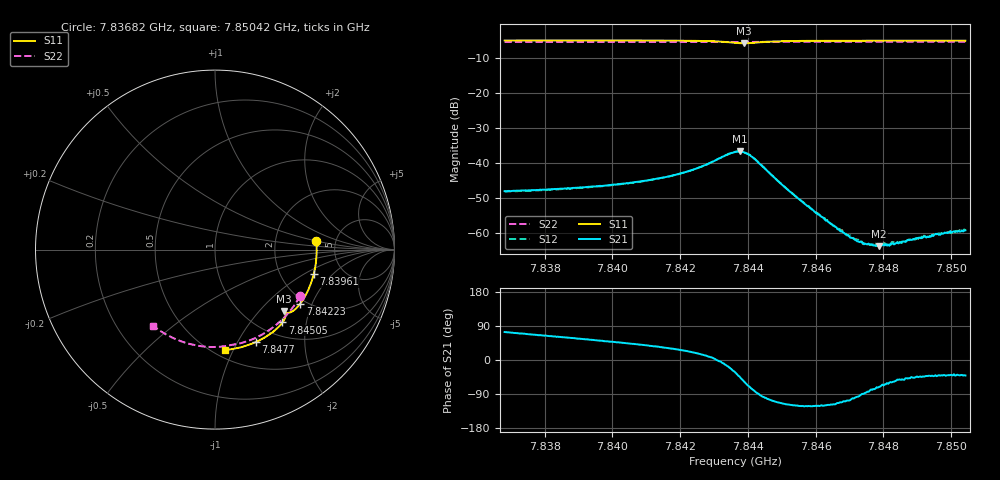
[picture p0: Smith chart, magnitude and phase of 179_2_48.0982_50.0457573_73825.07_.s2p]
#  HZ  S  RI  R  50.00
! Rohde & Schwarz Vector Network Analyzer
! Rohde-Schwarz,ZNB20-2Port,1311601062101988,3.16
! Created: UTC 12/23/2023, 3:52:34 AM
! freq[Hz]  re:S11  im:S11  re:S21  im:S21  re:S12  im:S12  re:S22  im:S22
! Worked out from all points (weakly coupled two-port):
!   401 points, 7.83682 GHz to 7.85042 GHz, reference 50 ohm
!   highest |S21| = -36.67 dB at 7.84376 GHz (marker M1); lowest = -63.8 dB at 7.84787 GHz (marker M2)
!   lowest |S11| = -5.7 dB at 7.84389 GHz (marker M3), VSWR 3.14, Z = 73.9 - j69.4 ohm
!   |S11| at or under -10 dB: nowhere
!   |S22| runs from -5.4 to -5.3 dB; largest |S21 - S12| = 0.00036
!   S11 on the Smith chart (normalised r, x): 7.83682 GHz: 3.53, +0.50; 7.83961 GHz: 3.07, -1.24; 7.84223 GHz: 1.87, -1.65; 7.84505 GHz: 1.25, -1.46; 7.8477 GHz: 0.79, -1.20; 7.85042 GHz: 0.57, -0.93
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7.836818e9  0.564 0.0478  0.00109 0.00378  0.00111 0.00372  0.4731 -0.2588
7.839097e9  0.5573 -0.1033  0.00252 0.00366  0.00247 0.00362  0.3776 -0.3862
7.839607e9  0.5501 -0.1368  0.00292 0.00363  0.00287 0.0036  0.3515 -0.4106
7.840525e9  0.5316 -0.1961  0.00379 0.00356  0.00374 0.00354  0.3003 -0.4497
7.841376e9  0.5076 -0.2495  0.00494 0.00344  0.00489 0.00342  0.2492 -0.4804
7.842226e9  0.4753 -0.3012  0.00696 0.00296  0.00692 0.00295  0.1947 -0.5051
7.842736e9  0.4494 -0.3302  0.0091 0.00194  0.00911 0.00196  0.1606 -0.5167
7.84311e9  0.4251 -0.3474  0.0113 -0.000223  0.0113 -6.99e-05  0.1352 -0.5232
7.84362e9  0.3897 -0.3514  0.0121 -0.0076  0.0122 -0.00769  0.1011 -0.5295
7.843756e9  0.3854 -0.3473  0.0106 -0.0102  0.0103 -0.0101  0.0925 -0.531
7.843892e9  0.3854 -0.3442  0.00772 -0.0119  0.00784 -0.0117  0.0838 -0.5325
7.844232e9  0.393 -0.3526  0.000986 -0.011  0.00108 -0.011  0.062 -0.5368
7.845048e9  0.3756 -0.406  -0.002 -0.00424  -0.00201 -0.00423  0.00492 -0.5426
7.845899e9  0.3334 -0.4501  -0.00114 -0.00181  -0.00113 -0.00184  -0.0551 -0.5408
7.846579e9  0.2954 -0.478  -0.000555 -0.00108  -0.000525 -0.00109  -0.1025 -0.5342
7.847021e9  0.2695 -0.4936  -0.000232 -0.000817  -0.000245 -0.000887  -0.1329 -0.5278
7.847463e9  0.243 -0.5076  3.92e-05 -0.000695  4.93e-05 -0.000667  -0.1629 -0.5195
7.847701e9  0.2286 -0.5143  0.000152 -0.000639  0.000135 -0.000666  -0.1787 -0.5145
7.847871e9  0.2181 -0.5188  0.00021 -0.000607  0.000237 -0.00063  -0.1901 -0.5106
7.848177e9  0.1991 -0.5267  0.000328 -0.000561  0.000366 -0.000615  -0.21 -0.5029
7.849572e9  0.1097 -0.5518  0.000704 -0.000653  0.000716 -0.000635  -0.2968 -0.4579
7.850422e9  0.0536 -0.5597  0.000818 -0.000707  0.000834 -0.00071  -0.3451 -0.4233
